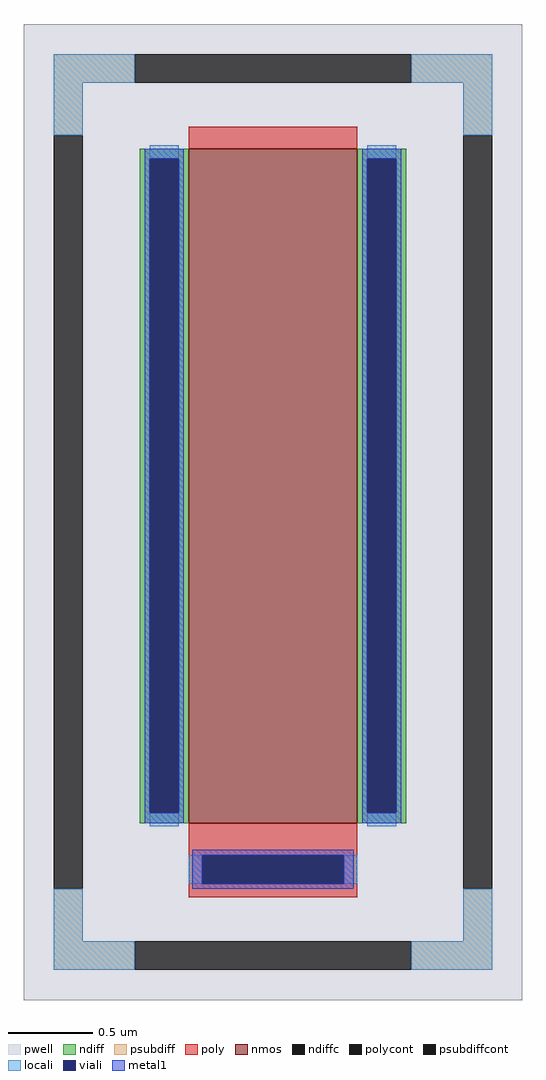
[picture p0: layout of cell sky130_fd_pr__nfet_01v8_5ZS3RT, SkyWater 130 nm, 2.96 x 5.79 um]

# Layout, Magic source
magic
tech sky130A
magscale 1 2
<< pwell >>
rect -296 -579 296 579
<< nmos >>
rect -100 -369 100 431
<< ndiff >>
rect -158 419 -100 431
rect -158 -357 -146 419
rect -112 -357 -100 419
rect -158 -369 -100 -357
rect 100 419 158 431
rect 100 -357 112 419
rect 146 -357 158 419
rect 100 -369 158 -357
<< ndiffc >>
rect -146 -357 -112 419
rect 112 -357 146 419
<< psubdiff >>
rect -260 509 -164 543
rect 164 509 260 543
rect -260 447 -226 509
rect 226 447 260 509
rect -260 -509 -226 -447
rect 226 -509 260 -447
rect -260 -543 -164 -509
rect 164 -543 260 -509
<< psubdiffcont >>
rect -164 509 164 543
rect -260 -447 -226 447
rect 226 -447 260 447
rect -164 -543 164 -509
<< poly >>
rect -100 431 100 457
rect -100 -407 100 -369
rect -100 -441 -84 -407
rect 84 -441 100 -407
rect -100 -457 100 -441
<< polycont >>
rect -84 -441 84 -407
<< locali >>
rect -260 509 -164 543
rect 164 509 260 543
rect -260 447 -226 509
rect 226 447 260 509
rect -146 419 -112 435
rect -146 -373 -112 -357
rect 112 419 146 435
rect 112 -373 146 -357
rect -100 -441 -84 -407
rect 84 -441 100 -407
rect -260 -509 -226 -447
rect 226 -509 260 -447
rect -260 -543 -164 -509
rect 164 -543 260 -509
<< viali >>
rect -146 -357 -112 419
rect 112 -357 146 419
rect -84 -441 84 -407
<< metal1 >>
rect -152 419 -106 431
rect -152 -357 -146 419
rect -112 -357 -106 419
rect -152 -369 -106 -357
rect 106 419 152 431
rect 106 -357 112 419
rect 146 -357 152 419
rect 106 -369 152 -357
rect -96 -407 96 -401
rect -96 -441 -84 -407
rect 84 -441 96 -407
rect -96 -447 96 -441
<< properties >>
string FIXED_BBOX -243 -526 243 526
string gencell sky130_fd_pr__nfet_01v8
string library sky130
string parameters w 4.0 l 1.0 m 1 nf 1 diffcov 100 polycov 100 guard 1 glc 1 grc 1 gtc 1 gbc 1 tbcov 100 rlcov 100 topc 0 botc 1 poverlap 0 doverlap 1 lmin 0.15 wmin 0.42 compatible {sky130_fd_pr__nfet_01v8 sky130_fd_pr__nfet_01v8_lvt  sky130_fd_bs_flash__special_sonosfet_star  sky130_fd_pr__nfet_g5v0d10v5 sky130_fd_pr__nfet_05v0_nvt  sky130_fd_pr__nfet_03v3_nvt} full_metal 1 viasrc 100 viadrn 100 viagate 100 viagb 0 viagr 0 viagl 0 viagt 0
<< end >>
